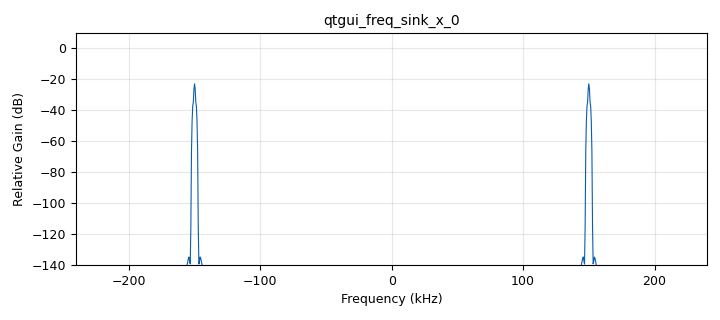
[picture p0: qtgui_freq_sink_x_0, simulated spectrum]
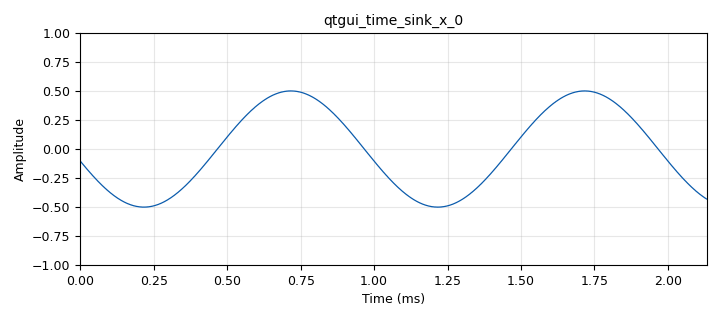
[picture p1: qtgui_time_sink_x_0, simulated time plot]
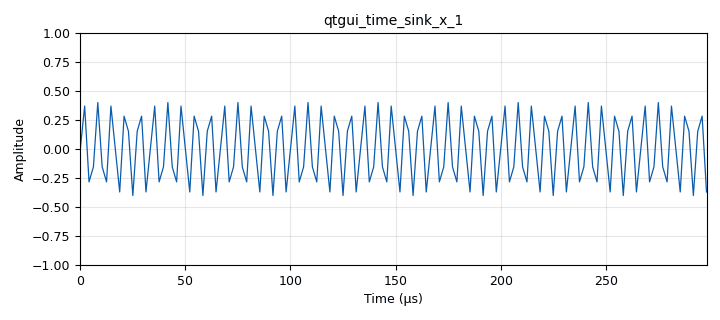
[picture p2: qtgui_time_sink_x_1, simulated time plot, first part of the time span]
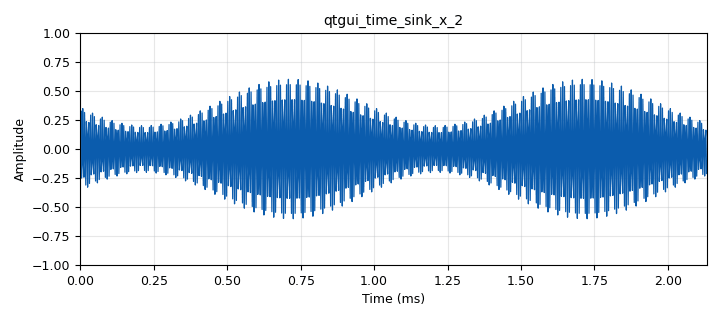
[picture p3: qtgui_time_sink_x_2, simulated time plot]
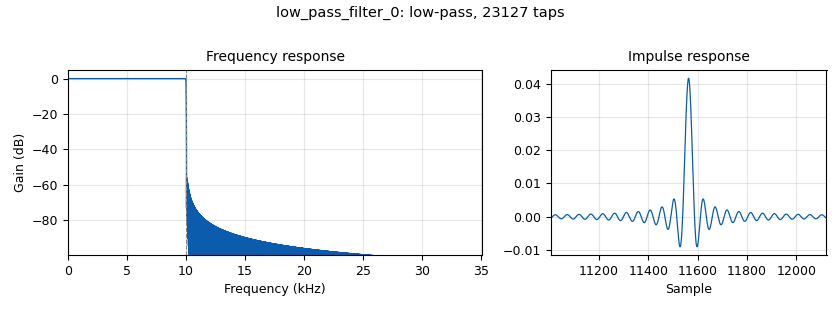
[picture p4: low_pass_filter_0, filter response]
options:
  parameters:
    generate_options: qt_gui
    id: test1
    output_language: python
    title: Not titled yet
  states: {}

blocks:
- name: amp1
  id: variable_qtgui_range
  parameters:
    gui_hint: 2,1
    label: amp1
    start: '0'
    step: '0.1'
    stop: '1'
    value: '0.5'
  states: {}
- name: amp2
  id: variable_qtgui_range
  parameters:
    gui_hint: 3,0
    label: amp2
    start: '0'
    step: '0.1'
    stop: '1'
    value: '0.4'
  states: {}
- name: freq1
  id: variable_qtgui_range
  parameters:
    gui_hint: 2,0
    label: freq1
    start: '0'
    step: '500'
    stop: '10000'
    value: '1000'
  states: {}
- name: freq2
  id: variable_qtgui_range
  parameters:
    gui_hint: 3,1
    label: freq2
    start: '-200000'
    step: '5000'
    stop: '200000'
    value: '150000'
  states: {}
- name: freq3
  id: variable_qtgui_range
  parameters:
    label: freq3
    start: '-1000'
    step: '1'
    stop: '1000'
    value: '0'
  states: {}
- name: samp_rate
  id: variable
  parameters:
    value: '480000'
  states: {}
- name: analog_sig_source_x_0
  id: analog_sig_source_x
  parameters:
    alias: Signal porteur
    amp: amp1
    freq: freq1
    offset: '0'
    phase: '0'
    samp_rate: samp_rate
    type: float
    waveform: analog.GR_SIN_WAVE
  states: {}
- name: analog_sig_source_x_1
  id: analog_sig_source_x
  parameters:
    amp: amp2
    freq: freq2
    offset: '0'
    phase: '0'
    samp_rate: samp_rate
    type: float
    waveform: analog.GR_SIN_WAVE
  states: {}
- name: analog_sig_source_x_2
  id: analog_sig_source_x
  parameters:
    amp: amp2
    freq: freq3
    offset: '0'
    phase: '0'
    samp_rate: samp_rate
    type: float
    waveform: analog.GR_SIN_WAVE
  states: {}
- name: blocks_add_xx_0
  id: blocks_add_xx
  parameters:
    type: float
  states: {}
- name: blocks_multiply_xx_0
  id: blocks_multiply_xx
  parameters:
    type: float
  states: {}
- name: blocks_multiply_xx_1
  id: blocks_multiply_xx
  parameters:
    type: float
  states: {}
- name: low_pass_filter_0
  id: low_pass_filter
  parameters:
    cutoff_freq: '10000'
    decim: '1'
    gain: '1'
    samp_rate: samp_rate
    type: fir_filter_fff
    width: '50'
    win: window.WIN_HAMMING
  states: {}
- name: qtgui_freq_sink_x_0
  id: qtgui_freq_sink_x
  parameters:
    average: '0.05'
    bw: samp_rate
    ctrlpanel: 'True'
    fc: '0'
    fftsize: '1024'
    gui_hint: 4,0
    type: float
  states: {}
- name: qtgui_time_sink_x_0
  id: qtgui_time_sink_x
  parameters:
    ctrlpanel: 'True'
    gui_hint: 0,0,2,1
    size: '1024'
    srate: samp_rate
    type: float
  states: {}
- name: qtgui_time_sink_x_1
  id: qtgui_time_sink_x
  parameters:
    ctrlpanel: 'True'
    gui_hint: 0,1,2,1
    size: '1024'
    srate: samp_rate
    type: float
  states: {}
- name: qtgui_time_sink_x_2
  id: qtgui_time_sink_x
  parameters:
    ctrlpanel: 'True'
    gui_hint: 4,1
    size: '1024'
    srate: samp_rate
    type: float
  states: {}
- name: qtgui_time_sink_x_3
  id: qtgui_time_sink_x
  parameters:
    gui_hint: 5,0
    size: '1024'
    srate: samp_rate
    type: float
  states: {}

connections:
- [analog_sig_source_x_0, '0', blocks_multiply_xx_0, '0']
- [analog_sig_source_x_0, '0', qtgui_time_sink_x_0, '0']
- [analog_sig_source_x_1, '0', blocks_add_xx_0, '1']
- [analog_sig_source_x_1, '0', blocks_multiply_xx_0, '1']
- [analog_sig_source_x_1, '0', qtgui_time_sink_x_1, '0']
- [analog_sig_source_x_2, '0', blocks_multiply_xx_1, '0']
- [blocks_add_xx_0, '0', low_pass_filter_0, '0']
- [blocks_add_xx_0, '0', qtgui_freq_sink_x_0, '0']
- [blocks_add_xx_0, '0', qtgui_time_sink_x_2, '0']
- [blocks_multiply_xx_0, '0', blocks_add_xx_0, '0']
- [blocks_multiply_xx_1, '0', qtgui_time_sink_x_3, '0']
- [low_pass_filter_0, '0', blocks_multiply_xx_1, '1']

metadata:
  file_format: 1
  grc_version: 3.10.6.0
